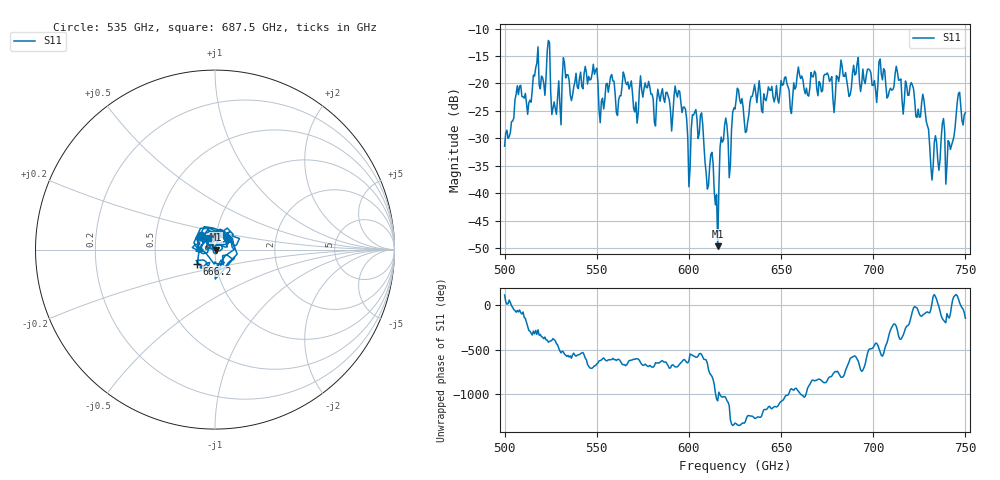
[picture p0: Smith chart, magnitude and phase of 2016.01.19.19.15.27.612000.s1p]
!Created with skrf (http://scikit-rf.org).
# GHz S RI R 50.0
!freq ReS11 ImS11
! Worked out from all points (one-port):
!   401 points, 500 GHz to 750 GHz, reference 50 ohm
!   lowest |S11| = -49.7 dB at 615.6 GHz (marker M1), VSWR 1.01, Z = 50.3 + j0.04 ohm
!   |S11| at or under -10 dB: start of sweep to end of sweep
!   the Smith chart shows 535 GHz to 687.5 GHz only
!   S11 on the Smith chart (normalised r, x): 535 GHz: 0.85, +0.13; 666.2 GHz: 0.81, -0.13; 687.5 GHz: 0.91, +0.12
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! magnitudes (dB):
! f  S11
! 500 GHz  -31.4
! 507.5 GHz  -22.0
! 513.8 GHz  -23.1
! 516.9 GHz  -17.2
! 523.8 GHz  -12.2
! 526.9 GHz  -23.4
! 531.2 GHz  -19.2
! 535 GHz  -19.3
! 562.5 GHz  -22.2
! 593.8 GHz  -22.5
! 600 GHz  -38.8
! 603.1 GHz  -25.3
! 606.9 GHz  -25.4
! 609.4 GHz  -36.4
! 615.6 GHz  -49.7
! 618.1 GHz  -30.7
! 622.5 GHz  -34.9
! 625 GHz  -24.7
! 656.2 GHz  -22.8
! 666.2 GHz  -18.0
! 687.5 GHz  -22.0
! 718.8 GHz  -22.2
! 727.5 GHz  -23.0
! 731.9 GHz  -37.6
! 737.5 GHz  -27.3
! 740.6 GHz  -30.4
! 746.2 GHz  -21.8
! 750 GHz  -25.3
